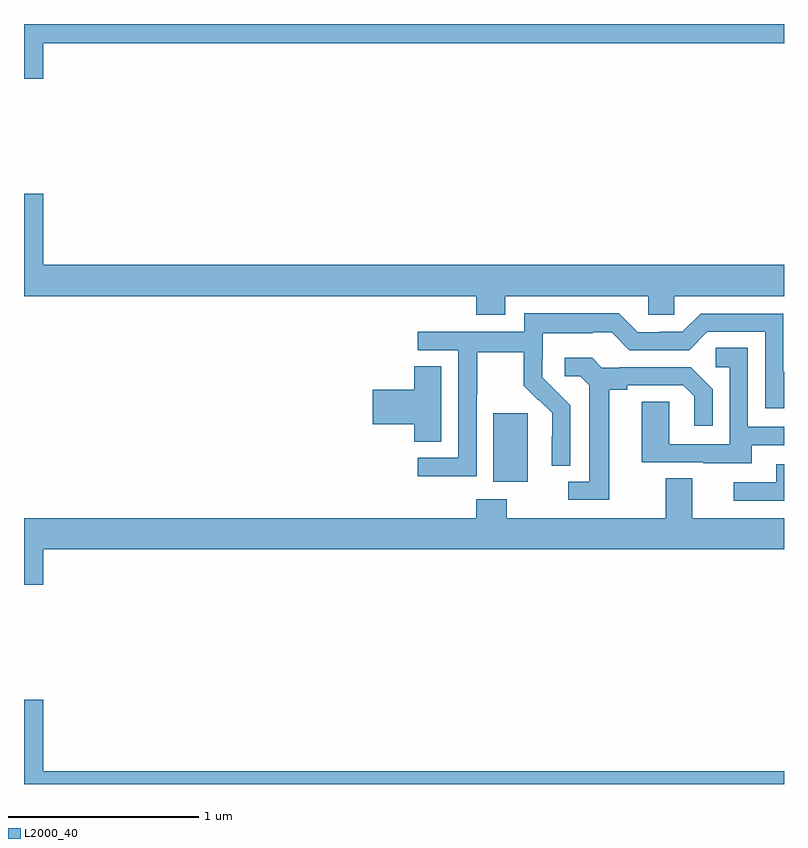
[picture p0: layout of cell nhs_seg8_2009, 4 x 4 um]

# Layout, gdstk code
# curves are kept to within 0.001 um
import gdstk
lib = gdstk.Library(unit=1e-6, precision=1e-09)
def R(c, l, rs):  # rectangles x0, y0, x1, y1
    for r in rs: c.add(gdstk.rectangle(r[:2], r[2:], *l))
def P(c, l, *ps):  # polygons
    for p in ps: c.add(gdstk.Polygon(p, *l))
L2000_40 = (2000, 40)

nhs_seg8_2009 = lib.new_cell('nhs_seg8_2009')
R(nhs_seg8_2009, L2000_40, [(239.471,1147.49,239.65,1147.851)])
P(nhs_seg8_2009, L2000_40, [(237.1,1149.8),(241,1149.8),(241,1149.9),(237,1149.9),(237,1149.612),(237.1,1149.612)],
  [(239.533,1148.468),(240.285,1148.468),(240.285,1148.37),(240.423,1148.37),(240.423,1148.468),(241,1148.468),(241,1148.632),(237.1,1148.632),(237.1,1149.007),(237,1149.007),(237,1148.468),(239.381,1148.468),(239.381,1148.369),(239.533,1148.369)],
  [(239.382,1147.948),(239.385,1147.948),(239.385,1148.172),(239.629,1148.172),(239.629,1147.997),(239.706,1147.92),(239.709,1147.923),(239.78,1147.853),(239.78,1147.73),(239.778,1147.73),(239.778,1147.576),(239.874,1147.576),(239.874,1147.894),(239.728,1148.042),(239.728,1148.139),(239.73,1148.139),(239.73,1148.273),(239.993,1148.273),(239.993,1148.277),(240.093,1148.277),(240.186,1148.184),(240.501,1148.184),(240.597,1148.28),(240.9,1148.28),(240.9,1147.878),(241,1147.878),(241,1148.071),(240.996,1148.071),(240.996,1148.376),(240.561,1148.376),(240.465,1148.28),(240.347,1148.28),(240.347,1148.277),(240.231,1148.277),(240.131,1148.377),(239.634,1148.377),(239.634,1148.28),(239.073,1148.28),(239.073,1148.184),(239.286,1148.184),(239.286,1147.617),(239.073,1147.617),(239.073,1147.519),(239.382,1147.519)],
  [(240.829,1147.683),(241,1147.683),(241,1147.779),(240.81,1147.779),(240.81,1148.195),(240.642,1148.195),(240.642,1148.094),(240.714,1148.094),(240.714,1147.689),(240.396,1147.689),(240.396,1147.913),(240.251,1147.913),(240.251,1147.593),(240.575,1147.593),(240.575,1147.589),(240.829,1147.589)],
  [(240.079,1147.976),(240.175,1147.976),(240.175,1147.998),(240.47,1147.998),(240.527,1147.941),(240.527,1147.785),(240.624,1147.785),(240.624,1147.978),(240.508,1148.094),(240.136,1148.094),(240.136,1148.091),(240.042,1148.091),(239.99,1148.143),(239.847,1148.143),(239.847,1148.046),(239.928,1148.046),(239.975,1147.999),(239.975,1147.491),(239.865,1147.491),(239.865,1147.395),(240.079,1147.395)],
  [(239.197,1148.099),(239.054,1148.099),(239.054,1147.976),(238.836,1147.976),(238.836,1147.793),(239.054,1147.793),(239.054,1147.702),(239.197,1147.702)],
  [(241,1147.584),(240.959,1147.584),(240.959,1147.488),(240.735,1147.488),(240.735,1147.392),(241,1147.392)],
  [(237.1,1147.136),(241,1147.136),(241,1147.3),(240.517,1147.3),(240.517,1147.508),(240.377,1147.508),(240.377,1147.3),(239.541,1147.3),(239.541,1147.399),(239.381,1147.399),(239.381,1147.3),(237,1147.3),(237,1146.948),(237.1,1146.948)],
  [(241,1145.968),(237.1,1145.968),(237.1,1146.343),(237,1146.343),(237,1145.9),(241,1145.9)])

lib.write_gds('nhs_seg8_2009.gds')
